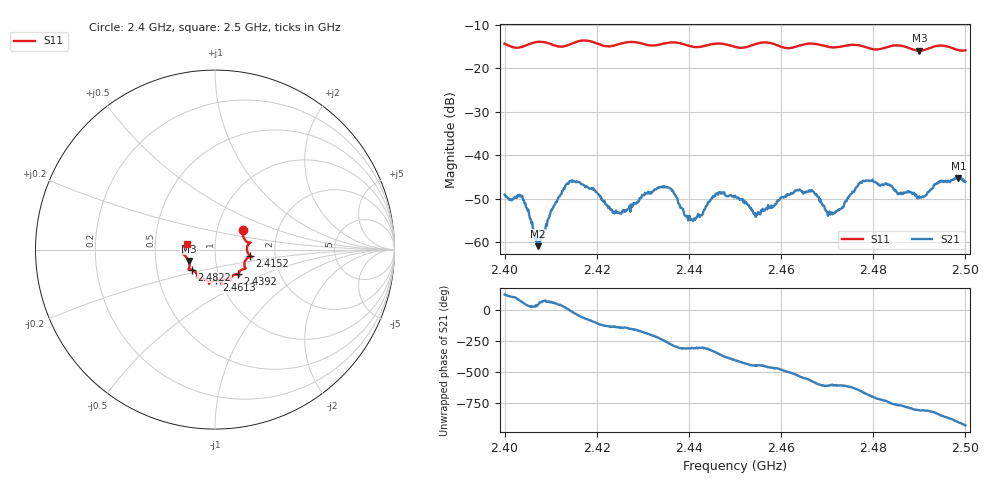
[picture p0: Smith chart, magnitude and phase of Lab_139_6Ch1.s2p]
# Hz S RI R 50
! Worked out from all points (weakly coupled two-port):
!   601 points, 2.4 GHz to 2.5 GHz, reference 50 ohm
!   highest |S21| = -45.26 dB at 2.4985 GHz (marker M1); lowest = -61.0 dB at 2.4072 GHz (marker M2)
!   lowest |S11| = -15.9 dB at 2.49 GHz (marker M3), VSWR 1.38, Z = 36.9 - j4.8 ohm
!   |S11| at or under -10 dB: start of sweep to end of sweep
!   S12 and S22 are empty: the file has one direction only
!   S11 on the Smith chart (normalised r, x): 2.4 GHz: 1.33, +0.31; 2.4152 GHz: 1.48, -0.11; 2.4392 GHz: 1.23, -0.35; 2.4613 GHz: 0.96, -0.34; 2.4822 GHz: 0.75, -0.17; 2.5 GHz: 0.73, +0.05
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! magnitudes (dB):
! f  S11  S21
! 2.4 GHz  -14.3  -49.1
! 2.4037 GHz  -15.1  -49.5
! 2.4072 GHz  -13.9  -61.0
! 2.413 GHz  -14.9  -47.7
! 2.4152 GHz  -14.0  -46.0
! 2.4167 GHz  -13.6  -46.7
! 2.4248 GHz  -14.4  -53.2
! 2.4333 GHz  -14.6  -47.5
! 2.4362 GHz  -14.0  -47.8
! 2.4392 GHz  -14.5  -54.0
! 2.4463 GHz  -14.3  -49.1
! 2.45 GHz  -15.0  -49.4
! 2.455 GHz  -14.2  -53.1
! 2.4613 GHz  -15.3  -49.0
! 2.4667 GHz  -14.3  -48.0
! 2.4712 GHz  -15.2  -53.6
! 2.4773 GHz  -14.8  -46.1
! 2.4822 GHz  -15.4  -46.9
! 2.4833 GHz  -15.0  -46.8
! 2.49 GHz  -15.9  -49.5
! 2.4985 GHz  -15.8  -45.3
! 2.5 GHz  -15.8  -46.1
